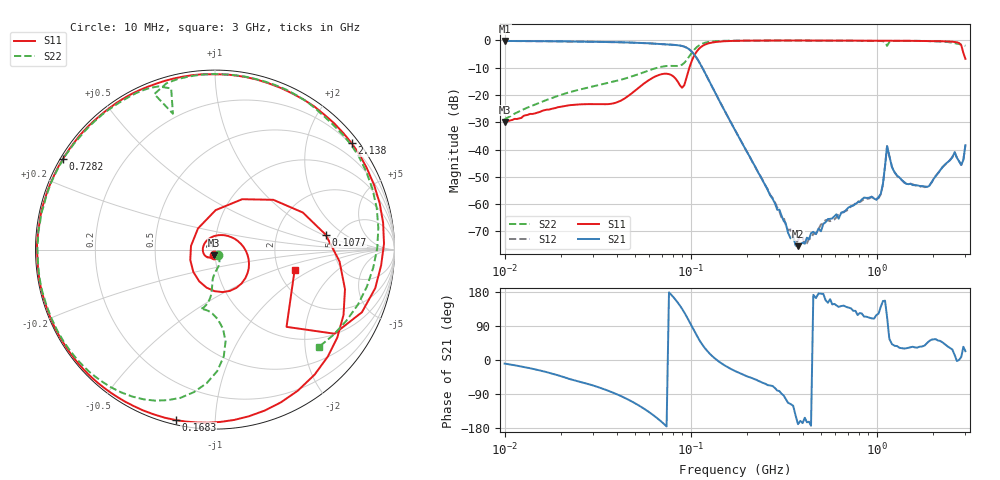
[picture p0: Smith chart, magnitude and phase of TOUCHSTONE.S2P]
!Agilent Technologies,E5071C,MY46101273,A.11.02
!Date: Mon Sep 25 13:49:51 2017
!Data & Calibration Information:
!Freq	S11:SOLT2(ON)	S21:SOLT2(ON)	S12:SOLT2(ON)	S22:SOLT2(ON)
!PortZ  Port1:50+j0  Port2:50+j0
!Above PortZ is port z conversion or system Z0 setting when saving the data.
!When reading, reference impedance value at option line is always used.
# Hz S RI R 50
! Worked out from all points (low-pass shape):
!   201 points, 10 MHz to 3 GHz, reference 50 ohm
!   highest |S21| = -0.25 dB at 10 MHz (marker M1); lowest = -75.4 dB at 377.8 MHz (marker M2)
!   |S21| within 3 dB of the highest: start of sweep to 97.99 MHz
!   lowest |S11| = -29.9 dB at 10 MHz (marker M3), VSWR 1.07, Z = 49.1 - j3.03 ohm
!   |S11| at or under -10 dB: start of sweep to 98.52 MHz
!   |S22| runs from -28.9 to -0.1 dB; largest |S21 - S12| = 0.0057
!   S11 on the Smith chart (normalised r, x): 10 MHz: 0.98, -0.06; 107.7 MHz: 3.98, +1.08; 168.3 MHz: 0.02, -0.79; 728.2 MHz: 0.01, +0.27; 2.138 GHz: 0.17, +2.90; 3 GHz: 2.45, -0.70
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1e7  -0.00807 -0.0308  0.9583 -0.1599  0.9579 -0.1605  0.0146 -0.0326
2.648714e7  -0.0662 -0.0136  0.4791 -0.8159  0.4787 -0.8158  1.61e-05 -0.1302
4.561452e7  0.046 0.0806  -0.2076 -0.8896  -0.2083 -0.8888  -0.0156 -0.2043
6.758271e7  0.1699 -0.158  -0.7922 -0.3313  -0.7916 -0.3319  -0.0558 -0.3154
8.988592e7  -0.1337 0.0206  -0.5592 0.5538  -0.5602 0.5542  -0.0138 -0.3573
9.859062e7  0.1514 0.2808  -0.1247 0.6667  -0.1247 0.6672  0.0588 -0.5112
1.077471e8  0.6163 0.0836  0.2034 0.4297  0.2034 0.4298  -0.0464 -0.7443
1.307434e8  0.4619 -0.7857  0.1372 0.0246  0.1373 0.0248  -0.5251 -0.7945
1.683352e8  -0.2196 -0.9495  0.0244 -0.012  0.0245 -0.0119  -0.8193 -0.5465
1.732051e8  -0.279 -0.937  0.0199 -0.0111  0.0199 -0.011  -0.8406 -0.5168
3.77814e8  -0.9783 -0.1717  -0.000167 -3.14e-05  -0.000195 -9.87e-05  -0.9747 0.1527
4.567423e8  -0.9916 0.0309  -0.000308 4.45e-05  -0.000285 1.86e-05  -0.9396 0.2979
7.281844e8  -0.8475 0.5042  -0.000665 0.000636  -0.00064 0.000646  -0.7276 0.6579
1.024742e9  -0.5507 0.816  -0.000729 0.00114  -0.000687 0.00109  -0.4043 0.8867
1.081198e9  -0.4848 0.8563  -0.00216 0.000988  -0.00208 0.000949  -0.3153 0.9093
1.137655e9  -0.4172 0.89  -0.00462 0.0106  -0.00466 0.0106  -0.2344 0.7571
1.170567e9  -0.377 0.9064  0.00429 0.00624  0.0043 0.00621  -0.3381 0.8665
1.445058e9  -0.0259 0.9768  0.00202 0.00122  0.00204 0.00118  0.0307 0.9771
2.137802e9  0.7613 0.593  0.00231 0.00288  0.00225 0.00296  0.7582 0.584
2.627808e9  0.9255 -0.0881  0.00867 0.00199  0.00873 0.002  0.8815 -0.1012
2.851123e9  0.6656 -0.4687  0.00516 0.000748  0.00519 0.00071  0.7329 -0.3954
3e9  0.4437 -0.1128  0.011 0.00474  0.0109 0.00478  0.58 -0.5415
